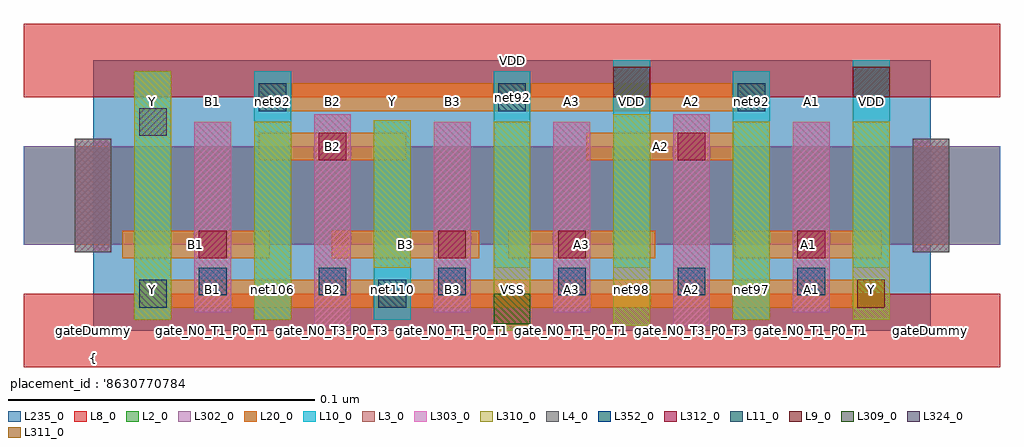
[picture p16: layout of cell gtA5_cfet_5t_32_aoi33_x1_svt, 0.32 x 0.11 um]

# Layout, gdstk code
import gdstk
lib = gdstk.Library(unit=1e-6, precision=2.5e-10)
def R(c, l, rs):  # rectangles x0, y0, x1, y1
    for r in rs: c.add(gdstk.rectangle(r[:2], r[2:], *l))
def A(c, l, x, y, w, h, nx, ny, dx, dy):  # array of equal rectangles
    R(c, l, [(x+i*dx, y+j*dy, x+i*dx+w, y+j*dy+h) for i in range(nx) for j in range(ny)])
L2_0 = (2, 0)
L3_0 = (3, 0)
L4_0 = (4, 0)
L8_0 = (8, 0)
L9_0 = (9, 0)
L10_0 = (10, 0)
L11_0 = (11, 0)
L20_0 = (20, 0)
L235_0 = (235, 0)
L302_0 = (302, 0)
L303_0 = (303, 0)
L309_0 = (309, 0)
L310_0 = (310, 0)
L311_0 = (311, 0)
L312_0 = (312, 0)
L324_0 = (324, 0)
L352_0 = (352, 0)

gta5_cfet_5t_32_aoi33_x1 = lib.new_cell('gtA5_cfet_5t_32_aoi33_x1_svt')
R(gta5_cfet_5t_32_aoi33_x1, L2_0, [(-0.0225,0.028,0.2955,0.06)])
R(gta5_cfet_5t_32_aoi33_x1, L3_0, [(0.072,0.0015,0.084,0.0705), (0.189,0.0015,0.201,0.0705), (0.033,0.006,0.045,0.068), (0.111,0.006,0.123,0.068), (0.15,0.006,0.162,0.068), (0.228,0.006,0.24,0.068), (-0.006,0.0255,0.006,0.0625), (0.267,0.0255,0.279,0.0625)])
R(gta5_cfet_5t_32_aoi33_x1, L4_0, [(-0.006,0.0255,0.006,0.0625), (0.267,0.0255,0.279,0.0625)])
R(gta5_cfet_5t_32_aoi33_x1, L8_0, [(-0.0225,-0.012,0.2955,0.012), (-0.0225,0.076,0.2955,0.1)])
R(gta5_cfet_5t_32_aoi33_x1, L9_0, [(0.1695,0.076,0.1815,0.086), (0.2475,0.076,0.2595,0.086)])
R(gta5_cfet_5t_32_aoi33_x1, L10_0, [(0.0135,0.0035,0.0255,0.0845), (0.0525,0.0035,0.0645,0.0845), (0.0915,0.0035,0.1035,0.0685), (0.2085,0.0035,0.2205,0.0845), (0.1305,0.0205,0.1425,0.0845), (0.1695,0.0205,0.1815,0.088), (0.2475,0.0205,0.2595,0.088)])
A(gta5_cfet_5t_32_aoi33_x1, L11_0, 0.054, 0.0715, 0.009, 0.009, 3, 1, 0.078, 0)
R(gta5_cfet_5t_32_aoi33_x1, L11_0, [(0.015,0.0075,0.024,0.0165), (0.093,0.0075,0.102,0.0165)])
R(gta5_cfet_5t_32_aoi33_x1, L20_0, [(0.015,0.0075,0.258,0.0165), (0.0095,0.0235,0.0575,0.0325), (0.0777,0.0235,0.1258,0.0325), (0.1353,0.0235,0.1832,0.0325), (0.209,0.0235,0.257,0.0325), (0.054,0.0555,0.102,0.0645), (0.1608,0.0555,0.2087,0.0645), (0.054,0.0715,0.219,0.0805)])
R(gta5_cfet_5t_32_aoi33_x1, L235_0, [(0,0,0.273,0.088)])
R(gta5_cfet_5t_32_aoi33_x1, L302_0, [(-0.0225,0.028,0.2955,0.06)])
R(gta5_cfet_5t_32_aoi33_x1, L303_0, [(0.072,0.0015,0.084,0.0705), (0.189,0.0015,0.201,0.0705), (0.033,0.006,0.045,0.068), (0.111,0.006,0.123,0.068), (0.15,0.006,0.162,0.068), (0.228,0.006,0.24,0.068), (-0.006,0.0255,0.006,0.0625), (0.267,0.0255,0.279,0.0625)])
R(gta5_cfet_5t_32_aoi33_x1, L309_0, [(0.1305,0.002,0.1425,0.012)])
R(gta5_cfet_5t_32_aoi33_x1, L310_0, [(0.1305,0,0.1425,0.068), (0.1695,0.0015,0.1815,0.0705), (0.0135,0.0035,0.0255,0.0845), (0.0525,0.0035,0.0645,0.068), (0.2085,0.0035,0.2205,0.068), (0.2475,0.0035,0.2595,0.068), (0.0915,0.0205,0.1035,0.0685)])
R(gta5_cfet_5t_32_aoi33_x1, L311_0, [(0.249,0.0075,0.258,0.0165)])
R(gta5_cfet_5t_32_aoi33_x1, L312_0, [(0.0345,0.0235,0.0435,0.0325), (0.1125,0.0235,0.1215,0.0325), (0.1515,0.0235,0.1605,0.0325), (0.2295,0.0235,0.2385,0.0325), (0.0735,0.0555,0.0825,0.0645), (0.1905,0.0555,0.1995,0.0645)])
R(gta5_cfet_5t_32_aoi33_x1, L324_0, [(0.015,0.0635,0.024,0.0725)])
A(gta5_cfet_5t_32_aoi33_x1, L352_0, 0.0345, 0.0115, 0.009, 0.009, 6, 1, 0.039, 0)
gta5_cfet_5t_32_aoi33_x1.add(gdstk.Label('net92', (0.1365,0.076), layer=100, texttype=100))
gta5_cfet_5t_32_aoi33_x1.add(gdstk.Label('gateDummy', (0,0), layer=103, texttype=103))
gta5_cfet_5t_32_aoi33_x1.add(gdstk.Label('sd_N0_T0_P0_T0', (0.0195,0), layer=103, texttype=103))
gta5_cfet_5t_32_aoi33_x1.add(gdstk.Label('gate_N0_T1_P0_T1', (0.039,0), layer=103, texttype=103))
gta5_cfet_5t_32_aoi33_x1.add(gdstk.Label('sd_N0_abut_P0_T4', (0.0585,0), layer=103, texttype=103))
gta5_cfet_5t_32_aoi33_x1.add(gdstk.Label('gate_N0_T3_P0_T3', (0.078,0), layer=103, texttype=103))
gta5_cfet_5t_32_aoi33_x1.add(gdstk.Label('sd_N0_abut_P0_T0', (0.0975,0), layer=103, texttype=103))
gta5_cfet_5t_32_aoi33_x1.add(gdstk.Label('gate_N0_T1_P0_T1', (0.117,0), layer=103, texttype=103))
gta5_cfet_5t_32_aoi33_x1.add(gdstk.Label('sd_N0_VSS_P0_T4', (0.1365,0), layer=103, texttype=103))
gta5_cfet_5t_32_aoi33_x1.add(gdstk.Label('gate_N0_T1_P0_T1', (0.156,0), layer=103, texttype=103))
gta5_cfet_5t_32_aoi33_x1.add(gdstk.Label('sd_P0_VDD', (0.1755,0), layer=103, texttype=103))
gta5_cfet_5t_32_aoi33_x1.add(gdstk.Label('gate_N0_T3_P0_T3', (0.195,0), layer=103, texttype=103))
gta5_cfet_5t_32_aoi33_x1.add(gdstk.Label('sd_N0_abut_P0_T4', (0.2145,0), layer=103, texttype=103))
gta5_cfet_5t_32_aoi33_x1.add(gdstk.Label('gate_N0_T1_P0_T1', (0.234,0), layer=103, texttype=103))
gta5_cfet_5t_32_aoi33_x1.add(gdstk.Label('sd_N0_T0_P0_VDD', (0.2535,0), layer=103, texttype=103))
gta5_cfet_5t_32_aoi33_x1.add(gdstk.Label('gateDummy', (0.273,0), layer=103, texttype=103))
gta5_cfet_5t_32_aoi33_x1.add(gdstk.Label('}', (0,-0.0963), layer=104, texttype=104))
gta5_cfet_5t_32_aoi33_x1.add(gdstk.Label('  power : None', (0,-0.0875), layer=104, texttype=104))
gta5_cfet_5t_32_aoi33_x1.add(gdstk.Label('  performance : None', (0,-0.0788), layer=104, texttype=104))
gta5_cfet_5t_32_aoi33_x1.add(gdstk.Label("  solution_hash : '673442115529299144'", (0,-0.07), layer=104, texttype=104))
gta5_cfet_5t_32_aoi33_x1.add(gdstk.Label('  number_m2 : 0', (0,-0.0612), layer=104, texttype=104))
gta5_cfet_5t_32_aoi33_x1.add(gdstk.Label('  number_m1 : 0', (0,-0.0525), layer=104, texttype=104))
gta5_cfet_5t_32_aoi33_x1.add(gdstk.Label('  number_m0cuts : 0', (0,-0.0438), layer=104, texttype=104))
gta5_cfet_5t_32_aoi33_x1.add(gdstk.Label('  number_m0 : 8', (0,-0.035), layer=104, texttype=104))
gta5_cfet_5t_32_aoi33_x1.add(gdstk.Label("  solution_number : '0000'", (0,-0.0262), layer=104, texttype=104))
gta5_cfet_5t_32_aoi33_x1.add(gdstk.Label("  placement_id : '8630770784587703532'", (0,-0.0175), layer=104, texttype=104))
gta5_cfet_5t_32_aoi33_x1.add(gdstk.Label('{', (0,-0.0088), layer=104, texttype=104))
gta5_cfet_5t_32_aoi33_x1.add(gdstk.Label('Y', (0.0195,0.0132), layer=105, texttype=105))
gta5_cfet_5t_32_aoi33_x1.add(gdstk.Label('B1', (0.039,0.0132), layer=105, texttype=105))
gta5_cfet_5t_32_aoi33_x1.add(gdstk.Label('net106', (0.0585,0.0132), layer=105, texttype=105))
gta5_cfet_5t_32_aoi33_x1.add(gdstk.Label('B2', (0.078,0.0132), layer=105, texttype=105))
gta5_cfet_5t_32_aoi33_x1.add(gdstk.Label('net110', (0.0975,0.0132), layer=105, texttype=105))
gta5_cfet_5t_32_aoi33_x1.add(gdstk.Label('B3', (0.117,0.0132), layer=105, texttype=105))
gta5_cfet_5t_32_aoi33_x1.add(gdstk.Label('VSS', (0.1365,0.0132), layer=105, texttype=105))
gta5_cfet_5t_32_aoi33_x1.add(gdstk.Label('A3', (0.156,0.0132), layer=105, texttype=105))
gta5_cfet_5t_32_aoi33_x1.add(gdstk.Label('net98', (0.1755,0.0132), layer=105, texttype=105))
gta5_cfet_5t_32_aoi33_x1.add(gdstk.Label('A2', (0.195,0.0132), layer=105, texttype=105))
gta5_cfet_5t_32_aoi33_x1.add(gdstk.Label('net97', (0.2145,0.0132), layer=105, texttype=105))
gta5_cfet_5t_32_aoi33_x1.add(gdstk.Label('A1', (0.234,0.0132), layer=105, texttype=105))
gta5_cfet_5t_32_aoi33_x1.add(gdstk.Label('Y', (0.2535,0.0132), layer=105, texttype=105))
gta5_cfet_5t_32_aoi33_x1.add(gdstk.Label('Y', (0.0195,0.0747), layer=105, texttype=105))
gta5_cfet_5t_32_aoi33_x1.add(gdstk.Label('B1', (0.039,0.0747), layer=105, texttype=105))
gta5_cfet_5t_32_aoi33_x1.add(gdstk.Label('net92', (0.0585,0.0747), layer=105, texttype=105))
gta5_cfet_5t_32_aoi33_x1.add(gdstk.Label('B2', (0.078,0.0747), layer=105, texttype=105))
gta5_cfet_5t_32_aoi33_x1.add(gdstk.Label('Y', (0.0975,0.0747), layer=105, texttype=105))
gta5_cfet_5t_32_aoi33_x1.add(gdstk.Label('B3', (0.117,0.0747), layer=105, texttype=105))
gta5_cfet_5t_32_aoi33_x1.add(gdstk.Label('net92', (0.1365,0.0747), layer=105, texttype=105))
gta5_cfet_5t_32_aoi33_x1.add(gdstk.Label('A3', (0.156,0.0747), layer=105, texttype=105))
gta5_cfet_5t_32_aoi33_x1.add(gdstk.Label('VDD', (0.1755,0.0747), layer=105, texttype=105))
gta5_cfet_5t_32_aoi33_x1.add(gdstk.Label('A2', (0.195,0.0747), layer=105, texttype=105))
gta5_cfet_5t_32_aoi33_x1.add(gdstk.Label('net92', (0.2145,0.0747), layer=105, texttype=105))
gta5_cfet_5t_32_aoi33_x1.add(gdstk.Label('A1', (0.234,0.0747), layer=105, texttype=105))
gta5_cfet_5t_32_aoi33_x1.add(gdstk.Label('VDD', (0.2535,0.0747), layer=105, texttype=105))
gta5_cfet_5t_32_aoi33_x1.add(gdstk.Label('VSS', (0.1365,0), layer=8, texttype=0))
gta5_cfet_5t_32_aoi33_x1.add(gdstk.Label('VDD', (0.1365,0.088), layer=8, texttype=0))
gta5_cfet_5t_32_aoi33_x1.add(gdstk.Label('Y', (0.1365,0.012), layer=20, texttype=251))
gta5_cfet_5t_32_aoi33_x1.add(gdstk.Label('B1', (0.0335,0.028), layer=20, texttype=251))
gta5_cfet_5t_32_aoi33_x1.add(gdstk.Label('B3', (0.1018,0.028), layer=20, texttype=251))
gta5_cfet_5t_32_aoi33_x1.add(gdstk.Label('A3', (0.1593,0.028), layer=20, texttype=251))
gta5_cfet_5t_32_aoi33_x1.add(gdstk.Label('A1', (0.233,0.028), layer=20, texttype=251))
gta5_cfet_5t_32_aoi33_x1.add(gdstk.Label('B2', (0.078,0.06), layer=20, texttype=251))
gta5_cfet_5t_32_aoi33_x1.add(gdstk.Label('A2', (0.1847,0.06), layer=20, texttype=251))
gta5_cfet_5t_32_aoi33_x1.add(gdstk.Label('gtA5_cfet_5t_32_aoi33_x1_rvt_0', (0,0), layer=235, texttype=0))

lib.write_gds('gtA5_cfet_5t_32_aoi33_x1_svt.gds')
